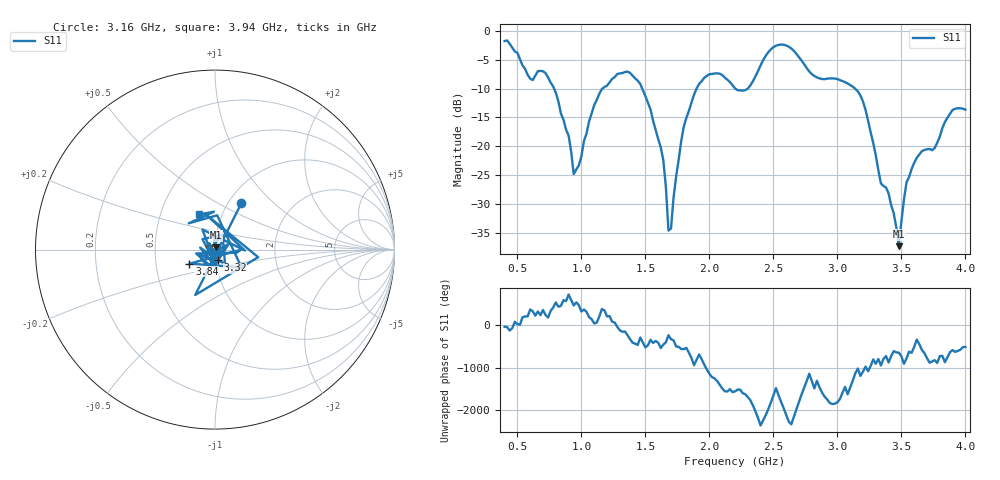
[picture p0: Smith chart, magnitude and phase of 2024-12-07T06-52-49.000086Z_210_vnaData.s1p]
!Created with skrf (http://scikit-rf.org).
# Hz S RI R 50.0
!freq ReS11 ImS11
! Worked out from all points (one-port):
!   181 points, 400 MHz to 4 GHz, reference 50 ohm
!   lowest |S11| = -37.3 dB at 3.48 GHz (marker M1), VSWR 1.03, Z = 50.4 + j1.32 ohm
!   |S11| at or under -10 dB: 786.8 MHz to 1.164 GHz (376.9 MHz wide, 38.6 % of centre); 1.476 GHz to 1.899 GHz (423.7 MHz wide, 25.1 % of centre); 3.139 GHz to end of sweep (the widest 3 of 4)
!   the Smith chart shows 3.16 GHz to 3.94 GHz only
!   S11 on the Smith chart (normalised r, x): 3.16 GHz: 1.15, +0.65; 3.32 GHz: 1.02, -0.12; 3.84 GHz: 0.74, -0.12; 3.94 GHz: 0.78, +0.32
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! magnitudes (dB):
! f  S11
! 400 MHz  -1.7
! 600 MHz  -8.3
! 720 MHz  -7.3
! 860 MHz  -15.4
! 940 MHz  -24.8
! 1.14 GHz  -10.9
! 1.3 GHz  -7.4
! 1.44 GHz  -8.6
! 1.54 GHz  -13.6
! 1.64 GHz  -22.4
! 1.68 GHz  -34.6
! 1.7 GHz  -34.3
! 1.76 GHz  -22.3
! 1.8 GHz  -16.6
! 1.92 GHz  -9.2
! 2.2 GHz  -10.0
! 2.3 GHz  -10.0
! 2.5 GHz  -2.8
! 2.66 GHz  -3.5
! 3.1 GHz  -9.4
! 3.16 GHz  -10.5
! 3.32 GHz  -24.2
! 3.4 GHz  -28.2
! 3.48 GHz  -37.3
! 3.56 GHz  -25.3
! 3.84 GHz  -15.8
! 3.94 GHz  -13.4
! 4 GHz  -13.6
